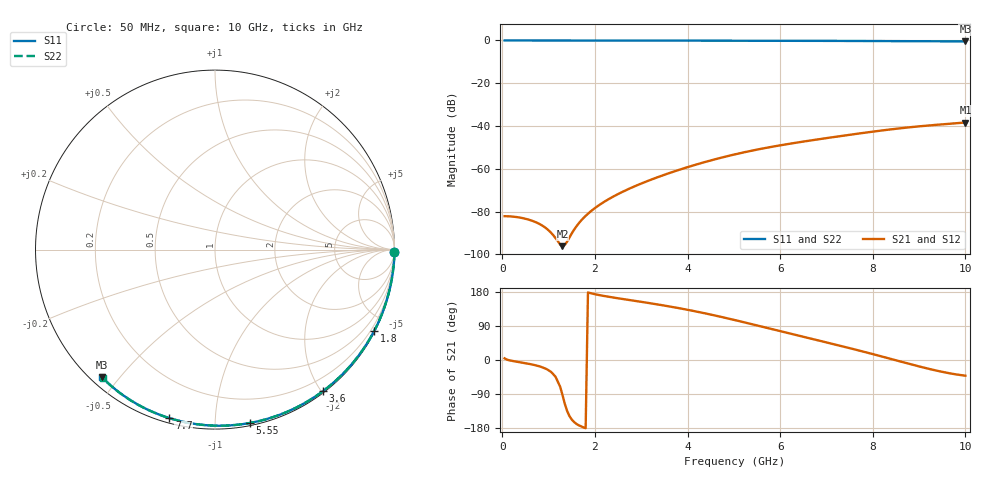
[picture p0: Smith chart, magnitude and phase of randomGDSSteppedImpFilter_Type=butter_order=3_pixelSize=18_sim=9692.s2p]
! freq	dB(S11)	phase(S11)	dB(S12)	phase(S12)
!  dB(S21)	phase(S21)	dB(S22)	phase(S22)
!S-par simulation data
#  GHz  S  DB  R 50
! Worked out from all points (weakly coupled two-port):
!   200 points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, 50 MHz to 10 GHz, reference 50 ohm
!   highest |S21| = -38.35 dB at 10 GHz (marker M1); lowest = -96.2 dB at 1.3 GHz (marker M2)
!   lowest |S11| = -0.4 dB at 10 GHz (marker M3), VSWR 38.90, Z = 1.55 - j22.5 ohm
!   |S11| at or under -10 dB: nowhere
!   |S22| runs from -0.4 to 0.0 dB; largest |S21 - S12| = 0
!   S11 on the Smith chart (normalised r, x): 50 MHz: open; 1.8 GHz: 0.04, -4.17; 3.6 GHz: 0.02, -2.02; 5.55 GHz: 0.02, -1.22; 7.7 GHz: 0.02, -0.77; 10 GHz: 0.03, -0.45
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0.05  -0.00 -0.8  -82.14 4.3  -82.14 4.3  -0.00 -0.8
0.65  -0.01 -9.9  -84.31 -12.0  -84.31 -12.0  -0.01 -9.8
1.3  -0.03 -19.6  -96.16 -92.5  -96.16 -92.5  -0.03 -19.5
1.75  -0.03 -26.2  -83.05 -177.7  -83.05 -177.7  -0.03 -26.2
1.8  -0.03 -27.0  -81.98 -179.9  -81.98 -179.9  -0.03 -26.9
1.9  -0.04 -28.4  -80.05 176.5  -80.05 176.5  -0.04 -28.4
2.05  -0.04 -30.6  -77.56 172.3  -77.56 172.3  -0.04 -30.6
2.25  -0.04 -33.5  -74.76 167.8  -74.76 167.8  -0.04 -33.5
2.45  -0.05 -36.4  -72.34 163.8  -72.34 163.8  -0.05 -36.3
2.65  -0.05 -39.3  -70.20 160.0  -70.20 160.0  -0.05 -39.2
3  -0.06 -44.3  -66.88 153.5  -66.88 153.5  -0.06 -44.2
3.4  -0.07 -49.9  -63.56 145.7  -63.56 145.7  -0.07 -49.8
3.6  -0.07 -52.7  -62.04 141.5  -62.04 141.5  -0.07 -52.6
4.3  -0.09 -62.3  -57.29 125.1  -57.29 125.1  -0.09 -62.2
5.05  -0.11 -72.3  -53.11 104.6  -53.11 104.6  -0.11 -72.1
5.55  -0.13 -78.7  -50.81 89.7  -50.81 89.7  -0.13 -78.6
6.1  -0.15 -85.7  -48.66 73.2  -48.66 73.2  -0.15 -85.5
6.7  -0.18 -93.1  -46.61 55.3  -46.61 55.3  -0.18 -92.9
7.7  -0.24 -105.1  -43.50 25.1  -43.50 25.1  -0.24 -104.9
8.35  -0.29 -112.7  -41.67 4.2  -41.67 4.2  -0.28 -112.5
9.05  -0.35 -120.8  -40.05 -18.5  -40.05 -18.5  -0.34 -120.5
10  -0.45 -131.5  -38.35 -41.5  -38.35 -41.5  -0.44 -131.3
